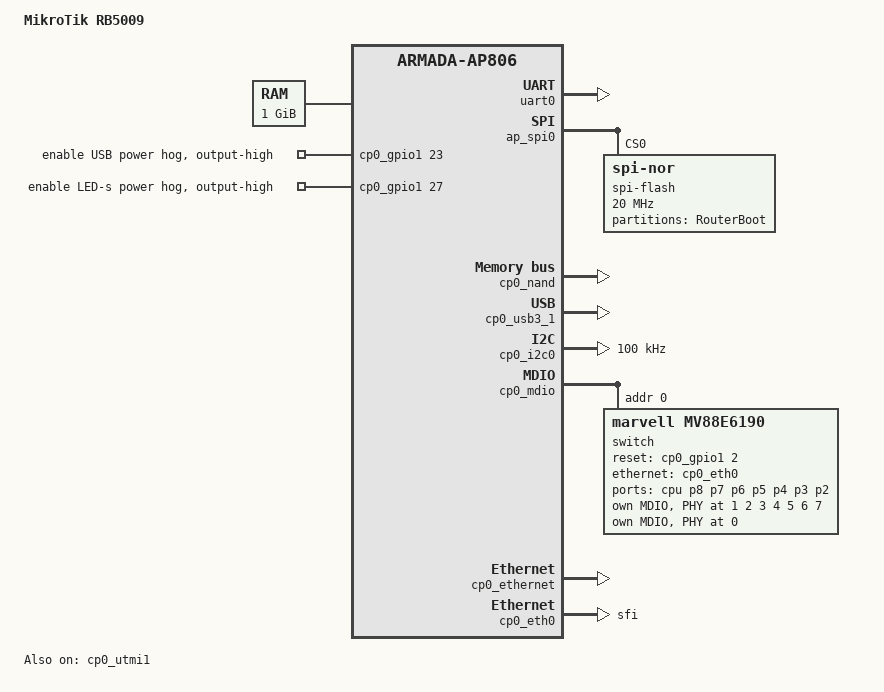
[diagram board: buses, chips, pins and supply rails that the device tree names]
// SPDX-License-Identifier: GPL-2.0+
/*
 * Copyright (C) 2016- 2021 Marvell International Ltd.
 */

/*
 * Device Tree file for MikroTik RB5009
 * Boot device: SPI NOR, 0x0
 */

#include "armada-7040.dtsi"
#include <dt-bindings/gpio/gpio.h>

/ {
	model = "MikroTik RB5009";
	compatible = "mikrotik,rb5009", "marvell,armada7040",
		     "marvell,armada-ap806-quad", "marvell,armada-ap806";

	chosen {
		stdout-path = "serial0:115200n8";
	};

	memory@00000000 {
		device_type = "memory";
		reg = <0x0 0x0 0x0 0x40000000>;
	};
};

&ap_pinctl {
	   /* MPP Bus:
	    * SPI   [0-3]
	    * UART0 [11,19]
	    */
		  /* 0 1 2 3 4 5 6 7 8 9 */
	pin-func = < 3 3 3 3 0 0 0 0 0 0
		     0 3 0 0 0 0 0 0 0 3 >;

	ap_spi_pins: ap-spi-pins {
		marvell,pins = < 0 1 2 3 >;
		marvell,function = <3>;
	};
};

&uart0 {
	status = "okay";
};

&ap_spi0 {
	status = "okay";
	pinctrl-names = "default";
	pinctrl-0 = <&ap_spi_pins>;

	spi-flash@0 {
		#address-cells = <0x1>;
		#size-cells = <0x1>;
		compatible = "jedec,spi-nor";
		reg = <0x0>;
		spi-max-frequency = <20000000>;

		partitions {
			compatible = "fixed-partitions";
			#address-cells = <1>;
			#size-cells = <1>;

			partition@0 {
				label = "RouterBoot";
				reg = <0x0 0x100000>;
			};
		};
	};
};

&cp0_pinctl {
		/* MPP Bus:
		 * NF_RBn  [13]
		 * DEV_BUS [15-27]
		 * UART0   [29,30]
		 * SMI     [35,36]
		 * I2C0    [37,38]
		 * SPI1    [47-50]
		 */
		/*   0   1   2   3   4   5   6   7   8   9 */
	pin-func = < 0   0   0   0   0   0   0   0   0   0
		     0   0   0   2   0   1   1   1   1   1
		     1   1   1   1   1   1   1   1   0   0xA
		     0xA 0   0   0   0   8   8   2   2   0
		     0   0   0   0   0   0   0   5   5   5
		     5   0   0   0   0   0   0   0   0   0
		     0   0   0 >;

	cp0_nand_pins: cp0-nand-pins {
		marvell,pins = < 15 16 17 18 19 20 21 22 23 24 25 26 27 >;
		marvell,function = <1>;
	};

	cp0_smi_pins: cp0-smi-pins {
		marvell,pins = < 35 36 >;
		marvell,function = <8>;
	};

	cp0_spi1_pins: cp0-spi-pins-1 {
		marvell,pins = < 47 48 49 50 >;
		marvell,function = <5>;
	};
};

&cp0_gpio1 {
	enable-usb-power {
		gpio-hog;
		gpios = <23 GPIO_ACTIVE_HIGH>;
		output-high;
		line-name = "enable USB power";
	};

	enable-leds-power {
		gpio-hog;
		gpios = <27 GPIO_ACTIVE_HIGH>;
		output-high;
		line-name = "enable LED-s power";
	};
};

&cp0_nand {
	status = "okay";

	pinctrl-names = "default";
	pinctrl-0 = <&cp0_nand_pins>;

	nand-ecc-strength = <4>;

	partitions {
		compatible = "fixed-partitions";
		#address-cells = <1>;
		#size-cells = <1>;

		partition@0 {
			label = "RouterBoard NAND Boot";
			reg = <0x0 0x800000>;
		};

		partition@800000 {
			label = "RouterBoard NAND Main";
			reg = <0x800000 0x3f800000>;
		};
	};
};

&cp0_usb3_1 {
	status = "okay";
};

&cp0_utmi1 {
	status = "okay";
};

&cp0_i2c0 {
	status = "okay";

	pinctrl-names = "default";
	pinctrl-0 = <&cp0_i2c0_pins>;
	clock-frequency = <100000>;
};

&cp0_comphy {
	phy0 {
		phy-type = <COMPHY_TYPE_UNCONNECTED>;
	};

	phy1 {
		phy-type = <COMPHY_TYPE_UNCONNECTED>;
	};

	phy2 {
		phy-type = <COMPHY_TYPE_SFI0>;
		phy-speed = <COMPHY_SPEED_10_3125G>;
	};

	phy3 {
		phy-type = <COMPHY_TYPE_USB3_HOST1>;
		phy-speed = <COMPHY_SPEED_5G>;
	};

	phy4 {
		phy-type = <COMPHY_TYPE_UNCONNECTED>;
	};

	phy5 {
		phy-type = <COMPHY_TYPE_UNCONNECTED>;
	};
};

&cp0_mdio {
	status = "okay";

	switch@0 {
		compatible = "marvell,mv88e6190"; /* Actual device is 88E6393X */
		#address-cells = <1>;
		#size-cells = <0>;
		reg = <0>;

		reset-gpios = <&cp0_gpio1 2 GPIO_ACTIVE_HIGH>;

		ports {
			#address-cells = <1>;
			#size-cells = <0>;

			port@0 {
				reg = <0>;
				label = "cpu";
				ethernet = <&cp0_eth0>;

				fixed-link {
					speed = <10000>;
					full-duplex;
				};
			};

			port@1 {
				reg = <1>;
				label = "p8";
				phy-handle = <&switch0phy1>;
			};

			port@2 {
				reg = <2>;
				label = "p7";
				phy-handle = <&switch0phy2>;
			};

			port@3 {
				reg = <3>;
				label = "p6";
				phy-handle = <&switch0phy3>;
			};

			port@4 {
				reg = <4>;
				label = "p5";
				phy-handle = <&switch0phy4>;
			};

			port@5 {
				reg = <5>;
				label = "p4";
				phy-handle = <&switch0phy5>;
			};

			port@6 {
				reg = <6>;
				label = "p3";
				phy-handle = <&switch0phy6>;
			};

			port@7 {
				reg = <7>;
				label = "p2";
				phy-handle = <&switch0phy7>;
			};

			port@8 {
				reg = <8>;
				label = "dummy";
				status = "disabled";
			};

			port@9 {
				reg = <9>;
				label = "p1";
				phy-handle = <&qca8081>;
				phy-mode = "sgmii";
			};
		};

		mdio {
			compatible = "marvell,mv88e6xxx-mdio";
			#address-cells = <1>;
			#size-cells = <0>;
			device-name = "mv88e6xxx-mdio";

			switch0phy1: switch0phy1@1 {
				reg = <0x1>;
			};

			switch0phy2: switch0phy2@2 {
				reg = <0x2>;
			};

			switch0phy3: switch0phy3@3 {
				reg = <0x3>;
			};

			switch0phy4: switch0phy4@4 {
				reg = <0x4>;
			};

			switch0phy5: switch0phy5@5 {
				reg = <0x5>;
			};

			switch0phy6: switch0phy6@6 {
				reg = <0x6>;
			};

			switch0phy7: switch0phy7@7 {
				reg = <0x7>;
			};
		};

		mdio1 {
			compatible = "marvell,mv88e6xxx-mdio-external";
			#address-cells = <1>;
			#size-cells = <0>;
			device-name = "mv88e6xxx-mdio-external";

			qca8081: qca8081@0 {
				reg = <0>;
			};
		};
	};
};

&cp0_ethernet {
	status = "okay";
};

&cp0_eth0 {
	status = "okay";
	phy-mode = "sfi";
};
